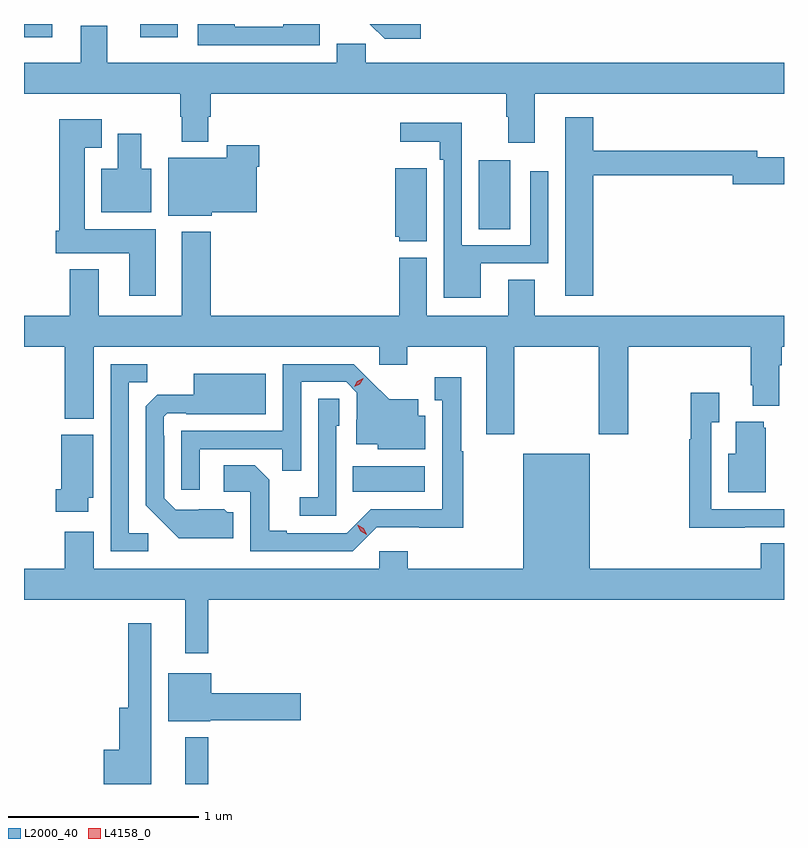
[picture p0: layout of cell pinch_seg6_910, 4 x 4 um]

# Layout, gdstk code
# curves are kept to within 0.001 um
import gdstk
lib = gdstk.Library(unit=1e-6, precision=1e-09)
def R(c, l, rs):  # rectangles x0, y0, x1, y1
    for r in rs: c.add(gdstk.rectangle(r[:2], r[2:], *l))
def P(c, l, *ps):  # polygons
    for p in ps: c.add(gdstk.Polygon(p, *l))
L2000_40 = (2000, 40)
L4158_0 = (4158, 0)

pinch_seg6_910 = lib.new_cell('pinch_seg6_910')
R(pinch_seg6_910, L2000_40, [(360.707,938.375,360.829,938.62), (361.588,939.914,361.969,940.048), (362.252,941.296,362.419,941.659), (360.471,942.305,360.667,942.375), (359.859,942.306,360.007,942.375)])
P(pinch_seg6_910, L2000_40, [(361.948,942.375),(361.68,942.375),(361.758,942.297),(361.948,942.297)],
  [(361.416,942.375),(361.32,942.375),(361.32,942.374),(361.223,942.374),(361.223,942.36),(360.967,942.36),(360.967,942.375),(360.774,942.375),(360.774,942.264),(361.416,942.264)],
  [(362.548,942.008),(363.859,942.008),(363.859,942.172),(361.657,942.172),(361.657,942.27),(361.505,942.27),(361.505,942.172),(360.298,942.172),(360.298,942.367),(360.158,942.367),(360.158,942.172),(359.859,942.172),(359.859,942.008),(360.682,942.008),(360.682,941.888),(360.689,941.888),(360.689,941.756),(360.829,941.756),(360.829,941.888),(360.842,941.888),(360.842,942.008),(362.396,942.008),(362.396,941.888),(362.408,941.888),(362.408,941.751),(362.548,941.751)],
  [(362.855,941.578),(363.59,941.578),(363.59,941.531),(363.859,941.531),(363.859,941.673),(363.718,941.673),(363.718,941.707),(362.855,941.707),(362.855,941.884),(362.708,941.884),(362.708,940.944),(362.855,940.944)],
  [(360.553,941.296),(360.178,941.296),(360.178,941.723),(360.268,941.723),(360.268,941.875),(360.044,941.875),(360.044,941.286),(360.026,941.286),(360.026,941.168),(360.413,941.168),(360.413,940.944),(360.553,940.944)],
  [(362.263,941.115),(362.619,941.115),(362.619,941.599),(362.523,941.599),(362.523,941.211),(362.163,941.211),(362.163,941.854),(361.839,941.854),(361.839,941.756),(362.047,941.756),(362.047,941.66),(362.067,941.66),(362.067,940.934),(362.263,940.934)],
  [(360.529,941.614),(360.475,941.614),(360.475,941.797),(360.353,941.797),(360.353,941.614),(360.266,941.614),(360.266,941.384),(360.529,941.384)],
  [(360.846,941.384),(361.084,941.384),(361.084,941.624),(361.097,941.624),(361.097,941.737),(360.926,941.737),(360.926,941.671),(360.617,941.671),(360.617,941.366),(360.846,941.366)],
  [(361.978,941.617),(361.814,941.617),(361.814,941.256),(361.833,941.256),(361.833,941.231),(361.978,941.231)],
  [(360.226,940.676),(361.728,940.676),(361.728,940.581),(361.875,940.581),(361.875,940.676),(362.291,940.676),(362.291,940.215),(362.439,940.215),(362.439,940.676),(362.884,940.676),(362.884,940.215),(363.039,940.215),(363.039,940.676),(363.683,940.676),(363.683,940.474),(363.695,940.474),(363.695,940.367),(363.835,940.367),(363.835,940.58),(363.848,940.58),(363.848,940.676),(363.859,940.676),(363.859,940.84),(362.548,940.84),(362.548,941.03),(362.408,941.03),(362.408,940.84),(361.978,940.84),(361.978,941.146),(361.835,941.146),(361.835,940.84),(360.842,940.84),(360.842,941.281),(360.689,941.281),(360.689,940.84),(360.253,940.84),(360.253,941.083),(360.101,941.083),(360.101,940.84),(359.859,940.84),(359.859,940.676),(360.074,940.676),(360.074,940.298),(360.226,940.298)],
  [(360.514,939.696),(360.411,939.696),(360.411,940.489),(360.507,940.489),(360.507,940.584),(360.315,940.584),(360.315,939.6),(360.514,939.6)],
  [(360.783,940.137),(361.219,940.137),(361.219,940.024),(361.317,940.024),(361.317,940.491),(361.554,940.491),(361.611,940.434),(361.611,940.292),(361.607,940.292),(361.607,940.163),(361.722,940.163),(361.722,940.136),(361.972,940.136),(361.972,940.312),(361.933,940.312),(361.933,940.399),(361.781,940.399),(361.594,940.584),(361.221,940.584),(361.221,940.233),(360.687,940.233),(360.687,939.924),(360.783,939.924)],
  [(360.961,939.804),(360.93,939.804),(360.914,939.82),(360.657,939.819),(360.597,939.879),(360.597,940.208),(360.594,940.208),(360.594,940.308),(360.612,940.326),(360.712,940.326),(360.712,940.322),(361.132,940.322),(361.132,940.534),(360.752,940.534),(360.752,940.423),(360.56,940.423),(360.501,940.364),(360.501,939.842),(360.673,939.668),(360.961,939.668)],
  [(361.716,939.726),(362.171,939.725),(362.171,940.127),(362.161,940.127),(362.161,940.516),(362.021,940.516),(362.021,940.395),(362.06,940.395),(362.06,939.822),(361.683,939.822),(361.557,939.696),(361.243,939.696),(361.243,939.709),(361.149,939.709),(361.149,939.976),(361.073,940.052),(360.909,940.052),(360.909,939.912),(361.05,939.912),(361.05,939.6),(361.59,939.6)],
  [(363.653,939.726),(363.859,939.726),(363.859,939.822),(363.477,939.822),(363.477,940.279),(363.517,940.279),(363.517,940.435),(363.369,940.435),(363.369,940.19),(363.361,940.19),(363.361,939.725),(363.653,939.725)],
  [(361.503,940.26),(361.518,940.26),(361.518,940.403),(361.407,940.403),(361.407,939.883),(361.311,939.883),(361.311,939.786),(361.503,939.786)],
  [(363.763,940.251),(363.752,940.251),(363.752,940.282),(363.605,940.282),(363.605,940.114),(363.566,940.114),(363.566,939.911),(363.763,939.911)],
  [(360.196,939.882),(360.223,939.882),(360.223,940.213),(360.056,940.213),(360.056,939.927),(360.026,939.927),(360.026,939.809),(360.196,939.809)],
  [(360.829,939.344),(363.859,939.344),(363.859,939.641),(363.737,939.641),(363.737,939.508),(362.836,939.508),(362.836,940.114),(362.486,940.114),(362.486,939.508),(361.88,939.508),(361.88,939.601),(361.728,939.601),(361.728,939.508),(360.226,939.508),(360.226,939.703),(360.074,939.703),(360.074,939.508),(359.859,939.508),(359.859,939.344),(360.707,939.344),(360.707,939.063),(360.829,939.063)],
  [(360.529,939.22),(360.408,939.22),(360.408,938.776),(360.359,938.776),(360.359,938.554),(360.278,938.554),(360.278,938.375),(360.529,938.375)],
  [(360.84,938.711),(361.315,938.711),(361.315,938.853),(360.844,938.853),(360.844,938.959),(360.617,938.959),(360.617,938.705),(360.84,938.705)])
P(pinch_seg6_910, L4158_0, [(361.663,939.687),(361.631,939.706),(361.613,939.739),(361.613,939.739),(361.614,939.739),(361.646,939.72),(361.663,939.687),(361.663,939.687)],
  [(361.596,940.466),(361.596,940.466),(361.614,940.495),(361.645,940.51),(361.645,940.51),(361.645,940.509),(361.627,940.48),(361.596,940.466)])

lib.write_gds('pinch_seg6_910.gds')
